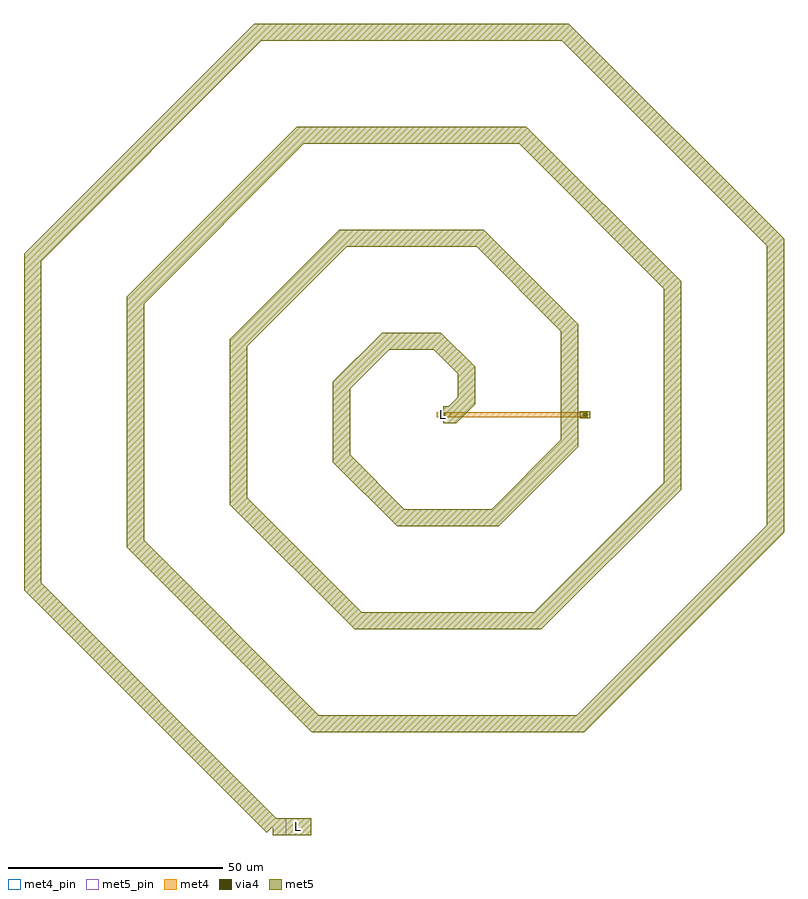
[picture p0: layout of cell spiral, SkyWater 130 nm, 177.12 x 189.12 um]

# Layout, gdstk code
import gdstk
lib = gdstk.Library(unit=1e-6, precision=1e-09)
def R(c, l, rs):  # rectangles x0, y0, x1, y1
    for r in rs: c.add(gdstk.rectangle(r[:2], r[2:], *l))
def P(c, l, *ps):  # polygons
    for p in ps: c.add(gdstk.Polygon(p, *l))
met4_pin = (71, 16)
met4 = (71, 20)
via4 = (71, 44)
met5_pin = (72, 16)
met5 = (72, 20)

spiral = lib.new_cell('spiral')
R(spiral, met4_pin, [(-1.6,-0.59,1.6,0.59)])
R(spiral, met4, [(-1.6,-0.59,1.6,0.59), (-0.59,-0.59,0.59,0.59), (1.6,-0.59,33,0.59), (32.41,-0.59,33.59,0.59)])
R(spiral, via4, [(-0.4,-0.4,0.4,0.4), (32.6,-0.4,33.4,0.4)])
R(spiral, met5_pin, [(-36.765,-98,-30.765,-94)])
R(spiral, met5, [(-39.765,-98,-36.765,-94), (-36.765,-98,-30.765,-94), (-1.25,-0.8,1.25,0.8), (31.75,-0.8,34.25,0.8)])
P(spiral, met5, [(-41.18,-97.415),(-97.745,-40.85),(-97.745,37.49),(-44.11,91.12),(29.26,91.12),(79.38,41.005),(79.38,-27.395),(32.775,-74),(-30.655,-74),(-73.745,-30.91),(-73.745,27.545),(-34.17,67.12),(19.32,67.12),(55.38,31.06),(55.38,-17.455),(22.835,-50),(-20.71,-50),(-49.745,-20.97),(-49.745,17.605),(-24.225,43.12),(9.38,43.12),(31.38,21.12),(31.38,-7.515),(12.89,-26),(-10.77,-26),(-25.745,-11.03),(-25.745,7.665),(-14.285,19.12),(-0.565,19.12),(7.38,11.18),(7.38,2.425),(2.95,-2),(0,-2),(0,2),(1.29,2),(3.38,4.085),(3.38,9.52),(-2.225,15.12),(-12.625,15.12),(-21.745,6.005),(-21.745,-9.37),(-9.11,-22),(11.23,-22),(27.38,-5.855),(27.38,19.46),(7.72,39.12),(-22.565,39.12),(-45.745,15.945),(-45.745,-19.31),(-19.05,-46),(21.175,-46),(51.38,-15.795),(51.38,29.4),(17.66,63.12),(-32.51,63.12),(-69.745,25.885),(-69.745,-29.25),(-28.995,-70),(31.115,-70),(75.38,-25.735),(75.38,39.345),(27.6,87.12),(-42.45,87.12),(-93.745,35.83),(-93.745,-39.19),(-38.35,-94.585)])
spiral.add(gdstk.Label('L', (-33.765,-96), layer=72, texttype=16))
spiral.add(gdstk.Label('L', (-33.765,-96), layer=72, texttype=5))
spiral.add(gdstk.Label('L', (0,0), layer=71, texttype=16))
spiral.add(gdstk.Label('L', (0,0), layer=71, texttype=5))

lib.write_gds('spiral.gds')
